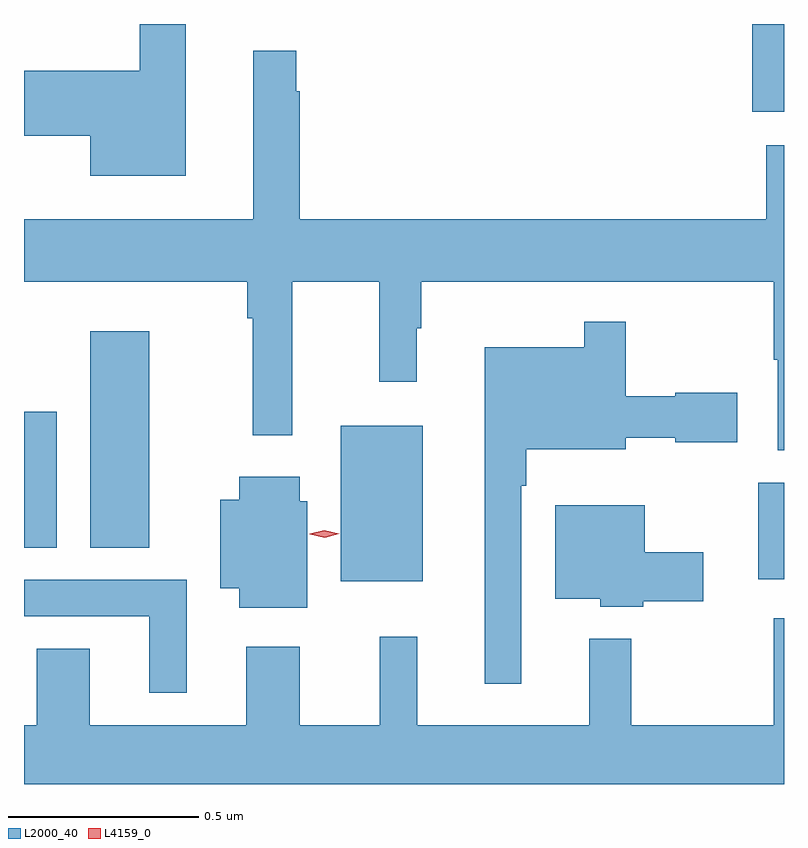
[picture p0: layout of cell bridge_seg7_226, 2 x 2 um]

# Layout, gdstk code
import gdstk
lib = gdstk.Library(unit=1e-6, precision=1e-09)
def R(c, l, rs):  # rectangles x0, y0, x1, y1
    for r in rs: c.add(gdstk.rectangle(r[:2], r[2:], *l))
def P(c, l, *ps):  # polygons
    for p in ps: c.add(gdstk.Polygon(p, *l))
L2000_40 = (2000, 40)
L4159_0 = (4159, 0)

bridge_seg7_226 = lib.new_cell('bridge_seg7_226')
R(bridge_seg7_226, L2000_40, [(280.796,1001.159,281.011,1001.569), (281.894,1001.165,281.962,1001.419), (279.962,1001.248,280.048,1001.605), (280.136,1001.248,280.291,1001.818), (281.879,1002.395,281.962,1002.626)])
P(bridge_seg7_226, L2000_40, [(280.387,1002.626),(280.266,1002.626),(280.266,1002.503),(279.962,1002.503),(279.962,1002.332),(280.136,1002.332),(280.136,1002.227),(280.387,1002.227)],
  [(281.962,1002.307),(281.915,1002.307),(281.915,1002.112),(280.687,1002.112),(280.687,1002.449),(280.679,1002.449),(280.679,1002.556),(280.565,1002.556),(280.565,1002.112),(279.962,1002.112),(279.962,1001.948),(280.549,1001.948),(280.549,1001.852),(280.564,1001.852),(280.564,1001.544),(280.668,1001.544),(280.668,1001.948),(280.897,1001.948),(280.897,1001.685),(280.996,1001.685),(280.996,1001.825),(281.008,1001.825),(281.008,1001.948),(281.935,1001.948),(281.935,1001.743),(281.945,1001.743),(281.945,1001.504),(281.962,1001.504)],
  [(281.271,1001.411),(281.284,1001.411),(281.284,1001.507),(281.545,1001.507),(281.545,1001.537),(281.676,1001.537),(281.676,1001.525),(281.839,1001.525),(281.839,1001.655),(281.676,1001.655),(281.676,1001.647),(281.545,1001.647),(281.545,1001.842),(281.436,1001.842),(281.436,1001.776),(281.174,1001.776),(281.174,1000.89),(281.271,1000.89)],
  [(280.708,1001.37),(280.687,1001.37),(280.687,1001.434),(280.529,1001.434),(280.529,1001.374),(280.478,1001.374),(280.478,1001.141),(280.529,1001.141),(280.529,1001.09),(280.708,1001.09)],
  [(281.592,1001.107),(281.749,1001.107),(281.749,1001.236),(281.596,1001.236),(281.596,1001.359),(281.36,1001.359),(281.36,1001.114),(281.478,1001.114),(281.478,1001.093),(281.592,1001.093)],
  [(280.39,1001.163),(279.962,1001.163),(279.962,1001.067),(280.292,1001.067),(280.292,1000.866),(280.39,1000.866)],
  [(281.962,1001.062),(281.935,1001.062),(281.935,1000.78),(281.56,1000.78),(281.56,1001.008),(281.45,1001.008),(281.45,1000.78),(280.997,1000.78),(280.997,1001.014),(280.898,1001.014),(280.898,1000.78),(280.687,1000.78),(280.687,1000.987),(280.547,1000.987),(280.547,1000.78),(280.135,1000.78),(280.135,1000.982),(279.995,1000.982),(279.995,1000.78),(279.962,1000.78),(279.962,1000.626),(281.962,1000.626)])
P(bridge_seg7_226, L4159_0, [(280.753,1001.274),(280.714,1001.283),(280.714,1001.283),(280.714,1001.284),(280.752,1001.294),(280.791,1001.284),(280.791,1001.284),(280.791,1001.284)])

lib.write_gds('bridge_seg7_226.gds')
